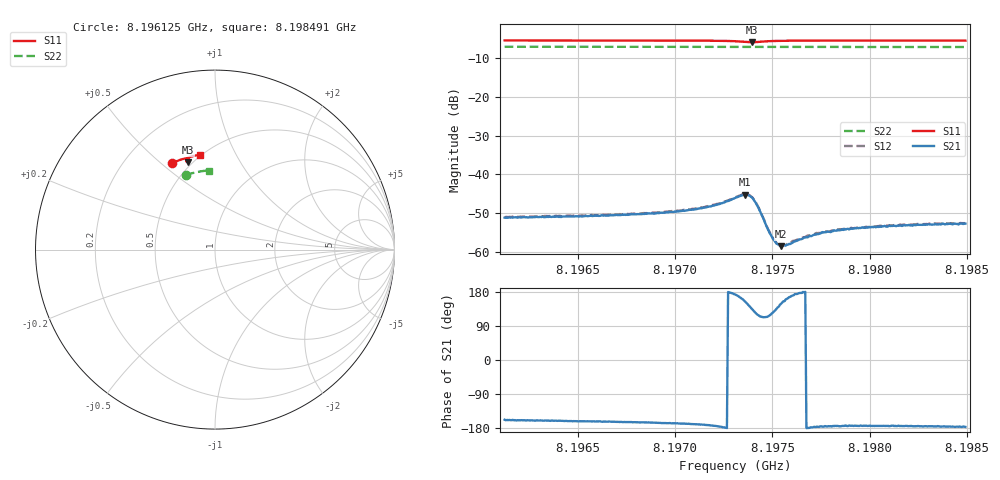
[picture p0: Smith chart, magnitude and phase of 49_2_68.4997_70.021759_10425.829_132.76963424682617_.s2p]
#  HZ  S  RI  R  50.00
! Rohde & Schwarz Vector Network Analyzer
! Rohde-Schwarz,ZNB20-2Port,1311601062101988,3.16
! Created: UTC 3/20/2024, 4:50:45 PM
! freq[Hz]  re:S11  im:S11  re:S21  im:S21  re:S12  im:S12  re:S22  im:S22
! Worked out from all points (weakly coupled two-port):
!   401 points, 8.196125 GHz to 8.198491 GHz, reference 50 ohm
!   highest |S21| = -45.22 dB at 8.197361 GHz (marker M1); lowest = -58.5 dB at 8.197544 GHz (marker M2)
!   lowest |S11| = -5.9 dB at 8.197396 GHz (marker M3), VSWR 3.08, Z = 23.7 + j31.2 ohm
!   |S11| at or under -10 dB: nowhere
!   |S22| runs from -7.1 to -7.0 dB; largest |S21 - S12| = 0.00029
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8.1961248e9  -0.2388 0.481  -0.00256 -0.00106  -0.00264 -0.000943  -0.1621 0.4151
8.196521e9  -0.2125 0.493  -0.00272 -0.000906  -0.00284 -0.000849  -0.1411 0.4221
8.1969173e9  -0.1846 0.5029  -0.00307 -0.000768  -0.00317 -0.000665  -0.1195 0.4279
8.197142e9  -0.1663 0.5075  -0.00366 -0.000593  -0.00371 -0.000422  -0.1072 0.4309
8.1972307e9  -0.1569 0.5079  -0.00417 -0.000301  -0.00426 -0.000151  -0.1023 0.4319
8.1973076e9  -0.1471 0.5042  -0.00493 0.000607  -0.005 0.000829  -0.0979 0.4325
8.1973609e9  -0.1432 0.4941  -0.00491 0.00243  -0.00487 0.00268  -0.095 0.4329
8.1973786e9  -0.1452 0.4898  -0.00433 0.00317  -0.00427 0.00341  -0.0942 0.4329
8.1973963e9  -0.1498 0.487  -0.00344 0.00364  -0.0033 0.00384  -0.0934 0.4332
8.1974259e9  -0.1578 0.489  -0.00181 0.00334  -0.00168 0.00346  -0.0919 0.4335
8.1974791e9  -0.1607 0.5  -0.000823 0.00172  -0.000756 0.00176  -0.089 0.4342
8.1975028e9  -0.1592 0.5037  -0.000851 0.00119  -0.000812 0.00127  -0.0878 0.4346
8.1975265e9  -0.1572 0.5065  -0.000948 0.000833  -0.000905 0.000881  -0.0865 0.4349
8.1975442e9  -0.1554 0.5081  -0.00101 0.000624  -0.001 0.000658  -0.0855 0.435
8.197556e9  -0.1543 0.5091  -0.0011 0.000514  -0.00107 0.000582  -0.0848 0.4351
8.1975797e9  -0.152 0.5108  -0.00119 0.00036  -0.00121 0.000427  -0.0835 0.4354
8.1976152e9  -0.1486 0.5125  -0.00136 0.000145  -0.00139 0.000203  -0.0815 0.4357
8.1977039e9  -0.1411 0.5158  -0.00162 -5.49e-05  -0.00168 3.87e-06  -0.0766 0.4364
8.1977689e9  -0.1357 0.5175  -0.00179 -0.000177  -0.00182 -9.28e-05  -0.073 0.4371
8.1978695e9  -0.128 0.5198  -0.00196 -0.000212  -0.00198 -0.000123  -0.0671 0.4378
8.1981002e9  -0.1107 0.5238  -0.00217 -0.000203  -0.00221 -0.000159  -0.0542 0.4392
8.1984905e9  -0.0827 0.5287  -0.00232 -0.000137  -0.00237 -3.68e-05  -0.0322 0.4406
